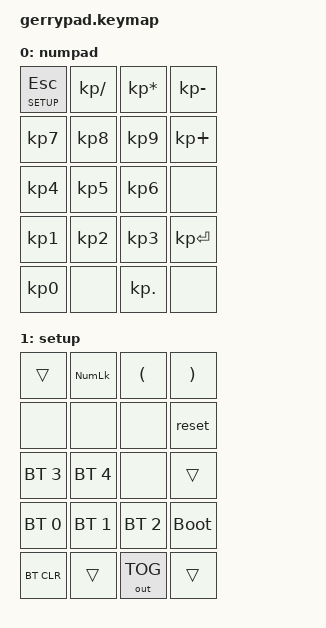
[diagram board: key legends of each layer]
/*
 * Copyright (c) 2020 The ZMK Contributors
 *
 * SPDX-License-Identifier: MIT
 */

#include <behaviors.dtsi>
#include <dt-bindings/zmk/keys.h>
#include <dt-bindings/zmk/bt.h>
#include <dt-bindings/zmk/outputs.h>
#include <dt-bindings/zmk/bt.h>

#define NUMPAD 0
#define SETUP  1


/ {
    keymap {
        compatible = "zmk,keymap";

        numpad {
// ---------------------------
// |ESC/SETUP | / | * |   -   |
// | 7        | 8 | 9 |   +   |
// | 4        | 5 | 6 |       |
// | 1        | 2 | 3 | Enter |
// | 0        |   | . |       |
// ---------------------------
            bindings = <
    &lt SETUP ESC      &kp KP_DIVIDE  &kp KP_MULTIPLY  &kp KP_MINUS
    &kp KP_N7          &kp KP_N8      &kp KP_N9        &kp KP_PLUS
    &kp KP_N4          &kp KP_N5      &kp KP_N6        &none
    &kp KP_N1          &kp KP_N2      &kp KP_N3        &kp KP_ENTER
    &kp KP_N0          &none          &kp KP_DOT       &none
            >;
        };

        setup {
// ---------------------------------------
// |        | NumLock |    (    |    )    |
// |        |         |         |  Reset  |
// | BT4    | BT5     |         |         |
// | BT1    | BT2     |   BT3   | Bootldr |
// | BT CLR |         | OUT_TOG |         |
// ---------------------------------------
            bindings = <
    &trans          &kp KP_NUMLOCK  &kp LPAR        &kp RPAR        
    &none           &none           &none           &reset
    &bt BT_SEL 3    &bt BT_SEL 4    &none           &trans
    &bt BT_SEL 0    &bt BT_SEL 1    &bt BT_SEL 2    &bootloader
    &bt BT_CLR      &trans          &out OUT_TOG    &trans
            >;
        };

    };
};

